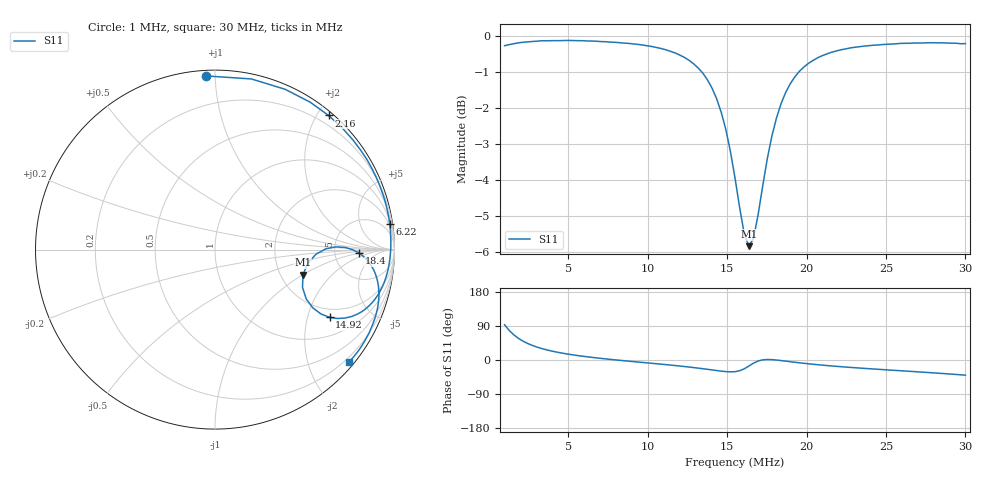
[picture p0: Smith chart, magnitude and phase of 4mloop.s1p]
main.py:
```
import os
import matplotlib as mpl
from PySpice.Spice.Parser import SpiceParser

mpl.use("QT5Agg")

import PySpice.Logging.Logging as Logging
import skrf as rf
from pylab import *

from skrf import Network
from skrf import VectorFitting
from nanovna_read import fetch_2_RI

rf.stylely()
fitting = False

from PySpice.Plot.BodeDiagram import bode_diagram

# Press the green button in the gutter to run the script.
if __name__ == '__main__':
    logger = Logging.setup_logging()
    sf = r'c:\projects\sNp\4mloop.s1p'
    cf = 'temp.cir'
    try:
        n = fetch_2_RI()
        n.frequency.unit = 'Hz'
        # n.write_touchstone(sf, form='ma')
    except OSError as e:
        print(e)
        n = Network(sf)
        n.frequency.unit = 'Hz'
    b3 = False
    try:
        b1 = os.path.exists(sf)
        b2 = os.path.exists(cf)
        if b1 and b2:
            b3 = os.path.getmtime(cf) < os.path.getmtime(sf)
        else:
            if b1:
                b3 = True
        fitting = b3
    except Exception as e:
        print(e)
        fitting = b3
    fitting = True
    if fitting:
        vf = VectorFitting(n)
        vf.max_iterations = 30
        vf.max_tol = 1e-6
        vf.vector_fit(2, 2, 'log')
        print("poles")
        print(vf.poles)
        print("zeroes")
        print(vf.zeros)
        vf.plot_pz(0,0)
        plt.savefig('pz.svg')
        plt.clf()
        vf.write_spice_subcircuit_s(cf)
        # vf.plot_convergence()
        # plt.savefig('convergence.svg')
        # plt.clf()
        # for i in range(0, 1):
        #     for j in range(0, 1):
        #         vf.plot_s_mag(i, j)
        #         plt.savefig('temp_s' + str(i + 1) + str(j + 1) + '.svg')
        #         plt.clf()
        # import test_lark
    mcf = 'main.cir'
    parser = SpiceParser(mcf)
    circuit = parser.build_circuit()
    print(circuit)
    # cs = circuit.simulator()
    # an = cs.ac('dec', 101, 1e6, 30e6)
    # figure = plt.figure(1, (20, 10))
    # plt.title("Bode Diagram of Simulated ?")
    # axes = (plt.subplot(211), plt.subplot(212))
    # bode_diagram(axes=axes,
    #              frequency=an.frequency,
    #              gain=20 * np.log10(np.absolute(an.vout)),
    #              phase=np.angle(an.vout, deg=False),
    #              marker='.',
    #              color='blue',
    #              linestyle='-',
    #              )
    # for axe in axes:
    #     axe.axvline(x=break_frequency, color='red')

    # plt.tight_layout()
    # plt.show()
    # print()
    # import ngspyce as ng

    # ng.source('main.cir')
    # ng.ac('dec', 201, 1e6, 30e6)
    # f = open('temp.vec', 'w')
    # print(ng.plots())
    # for p in ng.plots():
    #     for v in ng.vector_names(p):
    #         print(p, v, end='\r\n')
    #         f.writelines(p + ', ' + v + '\n')
    #         f.writelines(str(ng.vector(v, p)))
    # f.close()
```
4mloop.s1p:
! File created by NanoVNA MOD v3.0 by alex_m https://www.rtl-sdr.com/forum/viewtopic.php?f=4&t=4881
! Start 1000000Hz  Stop 30000000Hz  Points 101
# Hz S MA R 50
!S - Parameter data, F S11
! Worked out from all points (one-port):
!   101 points, 1 MHz to 30 MHz, reference 50 ohm
!   lowest |S11| = -5.8 dB at 16.37 MHz (marker M1), VSWR 3.08, Z = 132 - j50.2 ohm
!   |S11| at or under -10 dB: nowhere
!   S11 on the Smith chart (normalised r, x): 1 MHz: 0.03, +0.95; 2.16 MHz: 0.06, +2.16; 6.22 MHz: 2, +14; 14.92 MHz: 1.65, -2.76; 18.4 MHz: 9.12, -1.07; 30 MHz: 0.11, -2.74
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1000000  0.9688 92.9
1580000  0.9749 66.4
2160000  0.9794 49.7
3610000  0.9841 27.1
6220000  0.9834 8.3
1.086e7  0.96 -11.1
1.318e7  0.9021 -21.4
1.492e7  0.7413 -30.6
1.637e7  0.51 -16.0
1.724e7  0.6176 0.4
1.84e7  0.8049 -1.5
2.043e7  0.9246 -11.3
2.478e7  0.9724 -25.3
3e7  0.9753 -40.0
